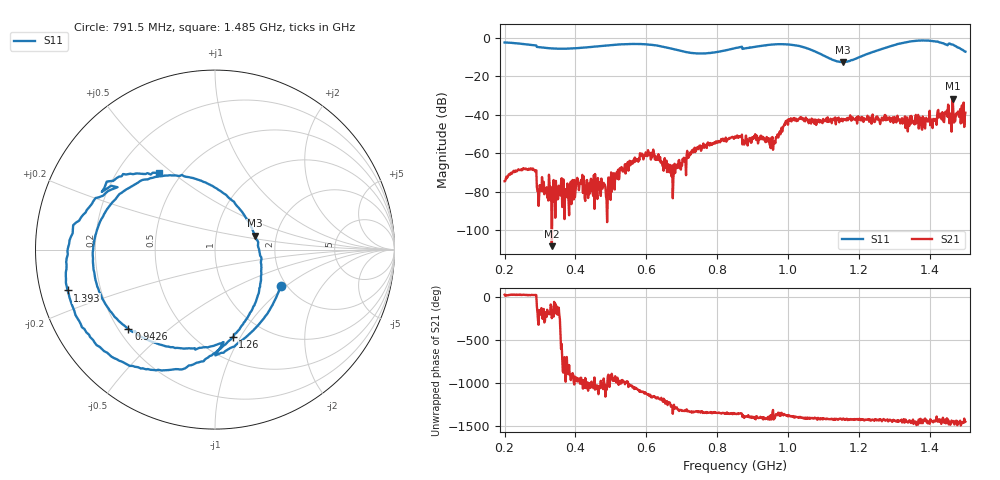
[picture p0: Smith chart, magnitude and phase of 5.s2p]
! NanoVNA-App
! Date: 2024-06-25 16:52:48
! Start: 200MHz Stop: 1.5GHz Points: 801
! S-Parameter data: F S11 S21 S12 S22
# Hz S RI R 50
!  Frequency  S11_Real  S11_Imag  S21_Real  S21_Imag  S12_Real  S12_Imag  S22_Real  S22_Imag
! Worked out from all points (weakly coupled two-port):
!   801 points, 200 MHz to 1.5 GHz, reference 50 ohm
!   highest |S21| = -31.66 dB at 1.464 GHz (marker M1); lowest = -108.3 dB at 333.2 MHz (marker M2)
!   lowest |S11| = -12.6 dB at 1.155 GHz (marker M3), VSWR 1.61, Z = 77.2 + j12.6 ohm
!   |S11| at or under -10 dB: 1.109 GHz to 1.202 GHz (92.59 MHz wide, 8.01 % of centre)
!   S12 and S22 are empty: the file has one direction only
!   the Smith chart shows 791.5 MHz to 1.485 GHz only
!   S11 on the Smith chart (normalised r, x): 791.5 MHz: 1.85, -0.92; 942.6 MHz: 0.24, -0.37; 1.26 GHz: 0.72, -0.93; 1.393 GHz: 0.08, -0.14; 1.485 GHz: 0.38, +0.45
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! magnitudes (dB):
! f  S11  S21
! 200 MHz  -2.4  -74.6
! 274.8 MHz  -3.7  -68.0
! 297.5 MHz  -4.8  -82.1
! 333.2 MHz  -5.5  -108.3
! 417.8 MHz  -5.1  -76.0
! 484.4 MHz  -4.0  -77.7
! 588.4 MHz  -3.2  -60.3
! 633.9 MHz  -4.1  -60.5
! 674.5 MHz  -5.7  -83.4
! 729.8 MHz  -7.9  -58.9
! 791.5 MHz  -7.6  -54.4
! 850 MHz  -5.4  -51.3
! 942.6 MHz  -3.7  -52.2
! 1.008 GHz  -3.5  -41.8
! 1.068 GHz  -6.4  -43.7
! 1.155 GHz  -12.6  -42.1
! 1.26 GHz  -6.1  -44.8
! 1.284 GHz  -4.6  -42.4
! 1.393 GHz  -1.4  -43.1
! 1.464 GHz  -3.6  -31.7
! 1.485 GHz  -5.5  -37.0
! 1.5 GHz  -7.2  -38.9
